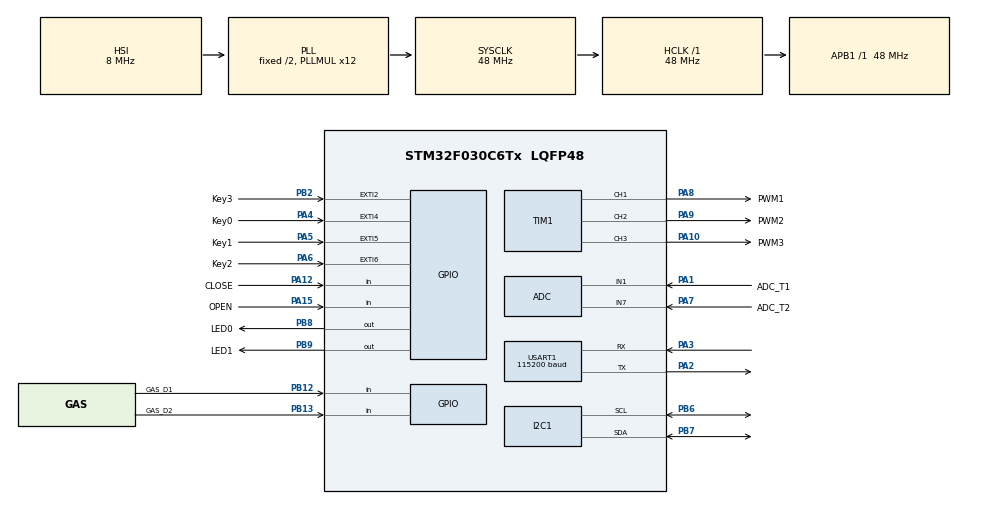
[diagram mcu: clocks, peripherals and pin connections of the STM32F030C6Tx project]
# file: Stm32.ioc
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I2C1.Timing=0x00201D2B
Mcu.Family=STM32F0
Mcu.Name=STM32F030C6Tx
Mcu.Package=LQFP48
PA1.GPIO_Label=ADC_T1
PA1.Mode=IN1
PA1.Signal=ADC_IN1
PA10.GPIO_FMA10=SYSCFG_CFGR1_I2C_FMP_PA10
PA10.GPIO_Label=PWM3
PA10.GPIO_Speed=GPIO_SPEED_FREQ_HIGH
PA10.Signal=S_TIM1_CH3
PA12.GPIO_Label=CLOSE
PA12.Signal=GPIO_Input
PA13.Mode=Serial_Wire
PA13.Signal=SYS_SWDIO
PA14.Mode=Serial_Wire
PA14.Signal=SYS_SWCLK
PA15.GPIO_Label=OPEN
PA15.Signal=GPIO_Input
PA2.Mode=Asynchronous
PA2.Signal=USART1_TX
PA3.Mode=Asynchronous
PA3.Signal=USART1_RX
PA4.GPIO_Label=Key0
PA4.GPIO_ModeDefaultEXTI=GPIO_MODE_IT_RISING_FALLING
PA4.Signal=GPXTI4
PA5.GPIO_Label=Key1
PA5.GPIO_ModeDefaultEXTI=GPIO_MODE_IT_RISING_FALLING
PA5.Signal=GPXTI5
PA6.GPIO_Label=Key2
PA6.GPIO_ModeDefaultEXTI=GPIO_MODE_IT_RISING_FALLING
PA6.Signal=GPXTI6
PA7.GPIO_Label=ADC_T2
PA7.Mode=IN7
PA7.Signal=ADC_IN7
PA8.GPIO_Label=PWM1
PA8.GPIO_ModeDefaultPP=GPIO_MODE_AF_PP
PA8.GPIO_Speed=GPIO_SPEED_FREQ_HIGH
PA8.Signal=S_TIM1_CH1
PA9.GPIO_FMA9=SYSCFG_CFGR1_I2C_FMP_PA9
PA9.GPIO_Label=PWM2
PA9.GPIO_Speed=GPIO_SPEED_FREQ_HIGH
PA9.Signal=S_TIM1_CH2
PB12.GPIO_Label=GAS_D1
PB12.Signal=GPIO_Input
PB13.GPIO_Label=GAS_D2
PB13.Signal=GPIO_Input
PB2.GPIO_Label=Key3
PB2.GPIO_ModeDefaultEXTI=GPIO_MODE_IT_RISING_FALLING
PB2.Signal=GPXTI2
PB6.Mode=I2C
PB6.Signal=I2C1_SCL
PB7.Mode=I2C
PB7.Signal=I2C1_SDA
PB8.GPIO_FM8=SYSCFG_CFGR1_I2C_FMP_PB8
PB8.GPIO_Label=LED0
PB8.GPIO_Speed=GPIO_SPEED_FREQ_HIGH
PB8.PinState=GPIO_PIN_SET
PB8.Signal=GPIO_Output
PB9.GPIO_FM9=SYSCFG_CFGR1_I2C_FMP_PB9
PB9.GPIO_Label=LED1
PB9.GPIO_Speed=GPIO_SPEED_FREQ_HIGH
PB9.PinState=GPIO_PIN_SET
PB9.Signal=GPIO_Output
PF0-OSC_IN.Mode=HSE-External-Oscillator
PF0-OSC_IN.Signal=RCC_OSC_IN
PF1-OSC_OUT.Mode=HSE-External-Oscillator
PF1-OSC_OUT.Signal=RCC_OSC_OUT
ProjectManager.HeapSize=0x200
ProjectManager.StackSize=0x400
ProjectManager.TargetToolchain=CMake
RCC.AHBFreq_Value=48000000
RCC.APB1Freq_Value=48000000
RCC.APB1TimFreq_Value=48000000
RCC.HCLKFreq_Value=48000000
RCC.PLLMUL=RCC_PLL_MUL12
RCC.SYSCLKFreq_VALUE=48000000
RCC.SYSCLKSource=RCC_SYSCLKSOURCE_PLLCLK
SH.S_TIM1_CH1.0=TIM1_CH1,Output Compare1 CH1
SH.S_TIM1_CH2.0=TIM1_CH2,Output Compare2 CH2
SH.S_TIM1_CH3.0=TIM1_CH3,Output Compare3 CH3
TIM1.Channel-Output\ Compare1\ CH1=TIM_CHANNEL_1
TIM1.Channel-Output\ Compare2\ CH2=TIM_CHANNEL_2
TIM1.Channel-Output\ Compare3\ CH3=TIM_CHANNEL_3
USART1.BaudRate=115200
USART1.VirtualMode-Asynchronous=VM_ASYNC
VP_ADC_TempSens_Input.Mode=IN-TempSens
VP_TIM1_VS_ClockSourceINT.Mode=Internal
board=custom

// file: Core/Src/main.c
/* USER CODE BEGIN Header */
/**
  ******************************************************************************
  * @file           : main.c
  * @brief          : Main program body
  ******************************************************************************
  * @attention
  *
  * Copyright (c) 2026 STMicroelectronics.
  * All rights reserved.
  *
  * This software is licensed under terms that can be found in the LICENSE file
  * in the root directory of this software component.
  * If no LICENSE file comes with this software, it is provided AS-IS.
  *
  ******************************************************************************
  */
/* USER CODE END Header */
#include "main.h"

/* USER CODE BEGIN Includes */
#include <limits.h>
#include <stdio.h>
#include <string.h>
#include "serial_log.h"
#include "Oled/oled.h"

/* USER CODE END Includes */

/* USER CODE BEGIN PTD */
typedef struct
{
  uint16_t ad_t1_raw;
  uint16_t ad_t2_raw;
  uint16_t ad_t1_mv;
  uint16_t ad_t2_mv;
  uint16_t input_mv;
  uint16_t temperature_raw;
  int16_t temperature_c10;
  uint16_t pwm0_duty;
  uint16_t pwm1_duty;
  uint16_t pwm2_duty;
  uint8_t digital_state;
  uint8_t digital_fault;
  uint8_t temp_fault;
  uint8_t boot_guard_active;
  uint8_t protection_latched;
  uint8_t adc_ok;
} CoreStatusSnapshot;

/* USER CODE END PTD */

/* USER CODE BEGIN PD */
#define BOOT_GUARD_MS                         15000U
#define CORE_LOGIC_PERIOD_MS                  20U
#define ADC_POLL_TIMEOUT_MS                   5U

#define ADC_FULL_SCALE                        4095U
#define ADC_REF_MV                            3300U
#define TS_CAL1_ADDR                          ((uint16_t *)0x1FFFF7B8U)
#define TS_CAL2_ADDR                          ((uint16_t *)0x1FFFF7C2U)
#define TS_CAL1_TEMP_C                        30
#define TS_CAL2_TEMP_C                        110

/* TODO: replace divider/calibration factors with measured values. */
/* AD_T1: 10k (top) / 2.2k (bottom) divider => V_in = V_adc * (12.2 / 2.2) = 61/11 */
#define AD_T1_DIVIDER_NUM                     61U
#define AD_T1_DIVIDER_DEN                     11U
#define AD_T1_CAL_NUM                         1U
#define AD_T1_CAL_DEN                         1U
#define AD_T2_DIVIDER_NUM                     1U
#define AD_T2_DIVIDER_DEN                     1U
#define AD_T2_CAL_NUM                         1U
#define AD_T2_CAL_DEN                         1U

#define AD_T1_SCALE_NUM                       (AD_T1_DIVIDER_NUM * AD_T1_CAL_NUM)
#define AD_T1_SCALE_DEN                       (AD_T1_DIVIDER_DEN * AD_T1_CAL_DEN)
#define AD_T2_SCALE_NUM                       (AD_T2_DIVIDER_NUM * AD_T2_CAL_NUM)
#define AD_T2_SCALE_DEN                       (AD_T2_DIVIDER_DEN * AD_T2_CAL_DEN)

#define PWM_BASE_FREQ_HZ                      10000U
#define PWM_TIMER_CLOCK_HZ                    48000000U
#define PWM_TIMER_PERIOD                      ((PWM_TIMER_CLOCK_HZ / PWM_BASE_FREQ_HZ) - 1U)
#define PWM_DUTY_MAX                           PWM_TIMER_PERIOD
#define PWM0_DUTY_LIMIT_PERCENT               20U
#define PWM0_DUTY_LIMIT                       ((PWM_DUTY_MAX * PWM0_DUTY_LIMIT_PERCENT) / 100U)
#define PWM0_TARGET_MV                         10500U
#define PWM1_FIXED_TARGET_MV                  1500U
#define PWM0_MAX_DUTY_PERCENT                 12U
#define PWM0_MAX_DUTY_COUNTS                  ((uint16_t)((((uint32_t)PWM_DUTY_MAX * PWM0_MAX_DUTY_PERCENT) + 50U) / 100U))
#define PWM0_MIN_ENABLE_MV                    6000U
#define PWM0_RAMP_INTERVAL_MS                 20U
#define PWM0_RAMP_UP_STEP_COUNTS              ((uint16_t)((PWM_DUTY_MAX + 99U) / 100U))
#define PWM0_RAMP_DOWN_STEP_COUNTS            ((uint16_t)(PWM0_RAMP_UP_STEP_COUNTS * 20U))
#define OUTPUT_AUTO_OFF_MS                    15000U

#if (PWM0_DUTY_LIMIT_PERCENT > 100U)
#error "PWM0_DUTY_LIMIT_PERCENT must be <= 100"
#endif

#if ((PWM0_RAMP_INTERVAL_MS % CORE_LOGIC_PERIOD_MS) != 0)
#error "PWM0_RAMP_INTERVAL_MS must be a multiple of CORE_LOGIC_PERIOD_MS"
#endif

/* PID gains: duty = Kp*err + Ki*sum(err) + Kd*dErr. Tune as needed. */
#define PWM0_PID_KP_NUM                        1U
#define PWM0_PID_KP_DEN                        4U
#define PWM0_PID_KI_NUM                        1U
#define PWM0_PID_KI_DEN                        200U
#define PWM0_PID_KD_NUM                        0U
#define PWM0_PID_KD_DEN                        1U

#if (PWM0_PID_KI_NUM == 0U)
#error "PWM0_PID_KI_NUM must be non-zero"
#endif

#define DIGITAL_STATE_OPEN                     (1U << 0)
#define DIGITAL_STATE_CLOSE                    (1U << 1)
#define DIGITAL_STATE_GAS_D1                   (1U << 2)
#define DIGITAL_STATE_GAS_D2                   (1U << 3)

#define OPEN_ACTIVE_LEVEL                     GPIO_PIN_RESET
#define CLOSE_ACTIVE_LEVEL                    GPIO_PIN_SET
#define GAS_ACTIVE_LEVEL                      GPIO_PIN_RESET
#define DIGITAL_INPUT_STABLE_COUNT            10U

#define LED0_TOGGLE_PERIOD_MS                500U
#define LED1_TOGGLE_PERIOD_MS                 20U
#define UART_STATUS_PRINT_PERIOD_MS          500U
#define OLED_UPDATE_PERIOD_MS                200U

#if ((LED0_TOGGLE_PERIOD_MS % CORE_LOGIC_PERIOD_MS) != 0)
#error "LED0_TOGGLE_PERIOD_MS must be a multiple of CORE_LOGIC_PERIOD_MS"
#endif
#if ((LED1_TOGGLE_PERIOD_MS % CORE_LOGIC_PERIOD_MS) != 0)
#error "LED1_TOGGLE_PERIOD_MS must be a multiple of CORE_LOGIC_PERIOD_MS"
#endif
#if ((UART_STATUS_PRINT_PERIOD_MS % CORE_LOGIC_PERIOD_MS) != 0)
#error "UART_STATUS_PRINT_PERIOD_MS must be a multiple of CORE_LOGIC_PERIOD_MS"
#endif
#if ((OLED_UPDATE_PERIOD_MS % CORE_LOGIC_PERIOD_MS) != 0)
#error "OLED_UPDATE_PERIOD_MS must be a multiple of CORE_LOGIC_PERIOD_MS"
#endif

#define LED0_TOGGLE_TICKS                     (LED0_TOGGLE_PERIOD_MS / CORE_LOGIC_PERIOD_MS)
#define LED1_TOGGLE_TICKS                     (LED1_TOGGLE_PERIOD_MS / CORE_LOGIC_PERIOD_MS)
#define UART_STATUS_PRINT_TICKS               (UART_STATUS_PRINT_PERIOD_MS / CORE_LOGIC_PERIOD_MS)
#define OLED_UPDATE_TICKS                     (OLED_UPDATE_PERIOD_MS / CORE_LOGIC_PERIOD_MS)
#define OLED_TRIGGER_PAGE_TICKS               5U

/* If LED wiring is active-low (common), OFF=SET and ON=RESET. Adjust if needed. */
#define LED_OFF_STATE                         GPIO_PIN_SET

/* USER CODE END PD */

ADC_HandleTypeDef hadc;

I2C_HandleTypeDef hi2c1;

TIM_HandleTypeDef htim1;

UART_HandleTypeDef huart1;

/* USER CODE BEGIN PV */
static uint32_t boot_tick_ms;
static uint8_t digital_active_counts[4];
static uint8_t protection_latched;
static uint16_t pwm0_duty;
static uint16_t pwm1_duty;
static uint16_t pwm2_duty;
static uint16_t led0_tick_count;
static uint16_t led1_tick_count;
static uint16_t uart_print_tick_count;
static uint16_t oled_update_tick_count;
static uint16_t pwm0_ramp_tick_count;
static int32_t pwm0_pid_integral;
static int32_t pwm0_pid_prev_error;
static uint32_t output_enable_start_ms;
static CoreStatusSnapshot core_status;
static uint32_t adc_fail_count;
static uint32_t adc_last_error;
static uint32_t adc_last_isr;
static uint32_t adc_last_cr;
static uint32_t adc_last_chselr;
static uint8_t adc_last_status;

/* USER CODE END PV */

void SystemClock_Config(void);
static void MX_GPIO_Init(void);
static void MX_ADC_Init(void);
static void MX_I2C1_Init(void);
static void MX_USART1_UART_Init(void);
static void MX_TIM1_Init(void);
/* USER CODE BEGIN PFP */
static void CoreProtection_Init(void);
static void CoreProtection_Update(void);
static void Led_Init(void);
static void Led_Update(void);
static void UartStatus_Update(void);
static void OledStatus_Update(void);
static void OledDebug_Update(void);
static void OledWriteLine(uint8_t line, const char *text);
static HAL_StatusTypeDef ReadCoreAdcInputs(uint16_t *ad_t1_raw,
                                           uint16_t *ad_t2_raw,
                                           uint16_t *temperature_raw);
static uint8_t UpdateDigitalCounter(uint8_t *counter,
                                    GPIO_PinState level,
                                    GPIO_PinState active_level);
static uint8_t ReadDigitalFaultStable(void);
static uint16_t AdcRawToMv(uint16_t raw);
static uint16_t ApplyVoltageScale(uint16_t mv, uint32_t scale_num, uint32_t scale_den);
static uint16_t ComputeInputVoltageMv(uint16_t ad_t1_mv, uint16_t ad_t2_mv);
static int16_t TemperatureRawToC10(uint16_t raw);
static void ResetPwm0Pid(void);
static uint16_t AdjustPwm0Duty(uint16_t feedback_mv);
static void ResetPwm0Ramp(void);
static uint16_t RampPwm0Duty(uint16_t target, uint8_t force_off);
static void ApplyPwmOutputs(uint16_t duty0, uint16_t duty1, uint16_t duty2);

/* USER CODE END PFP */

/* USER CODE BEGIN 0 */
static void CoreProtection_Init(void)
{
  uint8_t i;

  boot_tick_ms = HAL_GetTick();
  protection_latched = 0U;
  pwm0_duty = 0U;
  pwm1_duty = 0U;
  pwm2_duty = 0U;
  led0_tick_count = 0U;
  led1_tick_count = 0U;
  uart_print_tick_count = 0U;
  oled_update_tick_count = 0U;
  pwm0_ramp_tick_count = 0U;
  pwm0_pid_integral = 0;
  pwm0_pid_prev_error = 0;
  output_enable_start_ms = 0U;
  core_status = (CoreStatusSnapshot){0};
  adc_fail_count = 0U;
  adc_last_error = 0U;
  adc_last_isr = 0U;
  adc_last_cr = 0U;
  adc_last_chselr = 0U;
  adc_last_status = (uint8_t)HAL_OK;

  for (i = 0U; i < 4U; i++)
  {
    digital_active_counts[i] = 0U;
  }

  (void)HAL_ADCEx_Calibration_Start(&hadc);
  /* Temporarily disable PWM2/PWM3 while debugging PWM1. */
  if (HAL_TIM_PWM_Start(&htim1, TIM_CHANNEL_1) != HAL_OK)
  {
    Error_Handler();
  }
  ApplyPwmOutputs(0U, 0U, 0U);
}

static void Led_Init(void)
{
  HAL_GPIO_WritePin(LED0_GPIO_Port, LED0_Pin, LED_OFF_STATE);
  HAL_GPIO_WritePin(LED1_GPIO_Port, LED1_Pin, LED_OFF_STATE);
}

static void Led_Update(void)
{
  led0_tick_count++;
  if (led0_tick_count >= LED0_TOGGLE_TICKS)
  {
    led0_tick_count = 0U;
    HAL_GPIO_TogglePin(LED0_GPIO_Port, LED0_Pin);
  }

  if (protection_latched == 0U)
  {
    led1_tick_count = 0U;
    HAL_GPIO_WritePin(LED1_GPIO_Port, LED1_Pin, LED_OFF_STATE);
    return;
  }

  led1_tick_count++;
  if (led1_tick_count >= LED1_TOGGLE_TICKS)
  {
    led1_tick_count = 0U;
    HAL_GPIO_TogglePin(LED1_GPIO_Port, LED1_Pin);
  }
}

static void UartStatus_Update(void)
{
  uart_print_tick_count++;
  if (uart_print_tick_count < UART_STATUS_PRINT_TICKS)
  {
    return;
  }
  uart_print_tick_count = 0U;

  SerialLog_Printf("tick=%lu guard=%u latched=%u adc_ok=%u t1=%u t2=%u t1mv=%u t2mv=%u inmv=%u temp=%u din=0x%02X df=%u tf=%u pwm0=%u pwm1=%u pwm2=%u\r\n",
                   (unsigned long)HAL_GetTick(),
                   core_status.boot_guard_active,
                   core_status.protection_latched,
                   core_status.adc_ok,
                   core_status.ad_t1_raw,
                   core_status.ad_t2_raw,
                   core_status.ad_t1_mv,
                   core_status.ad_t2_mv,
                   core_status.input_mv,
                   core_status.temperature_raw,
                   core_status.digital_state,
                   core_status.digital_fault,
                   core_status.temp_fault,
                   core_status.pwm0_duty,
                   core_status.pwm1_duty,
                   core_status.pwm2_duty);
}

static uint8_t OledTryAppendToken(char *line, size_t line_size, const char *token)
{
  size_t len = strlen(line);
  size_t token_len = strlen(token);
  size_t needed = token_len + ((len > 0U) ? 1U : 0U);

  if ((len + needed) > (line_size - 1U))
  {
    return 0U;
  }

  if (len > 0U)
  {
    line[len] = '|';
    len++;
  }
  (void)memcpy(&line[len], token, token_len);
  line[len + token_len] = '\0';
  return 1U;
}

static void OledDebug_Update(void)
{
  static uint8_t trigger_page;
  static uint8_t trigger_page_tick;
  char line0[17];
  char line1[17];
  char tokens[65];
  size_t tokens_len;
  size_t page_count;
  size_t page_start;
  size_t i;
  uint8_t any_trigger = 0U;

  if (core_status.boot_guard_active != 0U)
  {
    uint32_t now_ms = HAL_GetTick();
    uint32_t elapsed_ms = now_ms - boot_tick_ms;
    uint32_t remaining_ms = 0U;
    uint32_t remaining_s;

    if (elapsed_ms < BOOT_GUARD_MS)
    {
      remaining_ms = BOOT_GUARD_MS - elapsed_ms;
    }
    remaining_s = (remaining_ms + 999U) / 1000U;

    (void)snprintf(line0, sizeof(line0), "System warming");
    (void)snprintf(line1, sizeof(line1), "up T-%lus", (unsigned long)remaining_s);
    OLED_Debug_PrintLine(0U, line0);
    OLED_Debug_PrintLine(1U, line1);
    trigger_page = 0U;
    trigger_page_tick = 0U;
    return;
  }

  line0[0] = '\0';
  line1[0] = '\0';
  tokens[0] = '\0';

  if ((core_status.digital_state & DIGITAL_STATE_OPEN) != 0U)
  {
    (void)OledTryAppendToken(tokens, sizeof(tokens), "OPEN");
    any_trigger = 1U;
  }
  if ((core_status.digital_state & DIGITAL_STATE_CLOSE) != 0U)
  {
    (void)OledTryAppendToken(tokens, sizeof(tokens), "CLOSE");
    any_trigger = 1U;
  }
  if ((core_status.digital_state & DIGITAL_STATE_GAS_D1) != 0U)
  {
    (void)OledTryAppendToken(tokens, sizeof(tokens), "GAS1");
    any_trigger = 1U;
  }
  if ((core_status.digital_state & DIGITAL_STATE_GAS_D2) != 0U)
  {
    (void)OledTryAppendToken(tokens, sizeof(tokens), "GAS2");
    any_trigger = 1U;
  }
  if (core_status.adc_ok == 0U)
  {
    (void)OledTryAppendToken(tokens, sizeof(tokens), "ADC");
    any_trigger = 1U;
  }
  if (core_status.temp_fault != 0U)
  {
    (void)OledTryAppendToken(tokens, sizeof(tokens), "TMP");
    any_trigger = 1U;
  }
  if (core_status.protection_latched != 0U)
  {
    (void)OledTryAppendToken(tokens, sizeof(tokens), "RUN");
    any_trigger = 1U;
  }

  if (any_trigger == 0U)
  {
    (void)snprintf(line0, sizeof(line0), "System Idle");
    OLED_Debug_PrintLine(0U, line0);
    OLED_Debug_PrintLine(1U, "");
    trigger_page = 0U;
    trigger_page_tick = 0U;
    return;
  }

  (void)snprintf(line0, sizeof(line0), "[System Action]");
  tokens_len = strlen(tokens);
  if (tokens_len == 0U)
  {
    line1[0] = '\0';
  }
  else
  {
    page_count = (tokens_len + 15U) / 16U;
    if (page_count == 0U)
    {
      page_count = 1U;
    }
    if (trigger_page >= page_count)
    {
      trigger_page = 0U;
    }
    trigger_page_tick++;
    if (trigger_page_tick >= OLED_TRIGGER_PAGE_TICKS)
    {
      trigger_page_tick = 0U;
      trigger_page++;
      if (trigger_page >= page_count)
      {
        trigger_page = 0U;
      }
    }

    page_start = (size_t)trigger_page * 16U;
    for (i = 0U; i < 16U; i++)
    {
      if ((page_start + i) >= tokens_len)
      {
        break;
      }
      line1[i] = tokens[page_start + i];
    }
    line1[i] = '\0';
  }

  OLED_Debug_PrintLine(0U, line0);
  OLED_Debug_PrintLine(1U, line1);
}

static void OledWriteLine(uint8_t line, const char *text)
{
  static const char blank_line[17] = "                ";

  OLED_ShowString(0U, line, blank_line, 8U);
  OLED_ShowString(0U, line, text, 8U);
}

static void OledStatus_Update(void)
{
  char line[17];

  oled_update_tick_count++;
  if (oled_update_tick_count < OLED_UPDATE_TICKS)
  {
    return;
  }
  oled_update_tick_count = 0U;

  OledDebug_Update();

  if (core_status.adc_ok == 0U)
  {
    const char *status_tag = "??";
    uint32_t fail_count_mod = adc_fail_count % 10000U;

    switch ((HAL_StatusTypeDef)adc_last_status)
    {
      case HAL_OK:
        status_tag = "OK";
        break;
      case HAL_ERROR:
        status_tag = "ER";
        break;
      case HAL_BUSY:
        status_tag = "BU";
        break;
      case HAL_TIMEOUT:
        status_tag = "TO";
        break;
      default:
        status_tag = "??";
        break;
    }

    (void)snprintf(line, sizeof(line), "ADC:%s ER:%04lX", status_tag,
                   (unsigned long)adc_last_error);
    OledWriteLine(2U, line);

    (void)snprintf(line, sizeof(line), "ISR:%04lX C:%04lu",
                   (unsigned long)(adc_last_isr & 0xFFFFU),
                   (unsigned long)fail_count_mod);
    OledWriteLine(3U, line);

    (void)snprintf(line, sizeof(line), "CR:%04lX CH:%05lX",
                   (unsigned long)(adc_last_cr & 0xFFFFU),
                   (unsigned long)(adc_last_chselr & 0x1FFFFU));
    OledWriteLine(4U, line);
    return;
  }

  (void)snprintf(line, sizeof(line), "T1:%5u mV", (unsigned int)core_status.ad_t1_mv);
  OledWriteLine(2U, line);

  (void)snprintf(line, sizeof(line), "T2:%5u mV", (unsigned int)core_status.ad_t2_mv);
  OledWriteLine(3U, line);

  {
    int16_t temp_c10 = core_status.temperature_c10;
    int16_t temp_abs = (temp_c10 < 0) ? (int16_t)(-temp_c10) : temp_c10;
    int16_t temp_c = (int16_t)(temp_abs / 10);
    int16_t temp_frac = (int16_t)(temp_abs % 10);
    char sign = (temp_c10 < 0) ? '-' : '+';

    (void)snprintf(line, sizeof(line), "Temp:%c%2d.%1dC", sign, temp_c, temp_frac);
  }
  OledWriteLine(4U, line);
}

static HAL_StatusTypeDef ReadCoreAdcInputs(uint16_t *ad_t1_raw,
                                           uint16_t *ad_t2_raw,
                                           uint16_t *temperature_raw)
{
  uint16_t samples[3];
  uint32_t i;
  HAL_StatusTypeDef status;

  __HAL_ADC_CLEAR_FLAG(&hadc, ADC_FLAG_EOC | ADC_FLAG_EOS | ADC_FLAG_OVR | ADC_FLAG_EOSMP | ADC_FLAG_RDY);

  status = HAL_ADC_Start(&hadc);
  if (status != HAL_OK)
  {
    adc_last_status = (uint8_t)status;
    adc_last_error = HAL_ADC_GetError(&hadc);
    adc_last_isr = hadc.Instance->ISR;
    adc_last_cr = hadc.Instance->CR;
    adc_last_chselr = hadc.Instance->CHSELR;
    adc_fail_count++;
    return HAL_ERROR;
  }

  for (i = 0U; i < 3U; i++)
  {
    status = HAL_ADC_PollForConversion(&hadc, ADC_POLL_TIMEOUT_MS);
    if (status != HAL_OK)
    {
      adc_last_status = (uint8_t)status;
      adc_last_error = HAL_ADC_GetError(&hadc);
      adc_last_isr = hadc.Instance->ISR;
      adc_last_cr = hadc.Instance->CR;
      adc_last_chselr = hadc.Instance->CHSELR;
      adc_fail_count++;
      (void)HAL_ADC_Stop(&hadc);
      return status;
    }
    samples[i] = (uint16_t)HAL_ADC_GetValue(&hadc);
  }

  (void)HAL_ADC_Stop(&hadc);

  adc_last_status = (uint8_t)HAL_OK;
  adc_last_error = 0U;
  *ad_t1_raw = samples[0];
  *ad_t2_raw = samples[1];
  *temperature_raw = samples[2];

  return HAL_OK;
}

static uint8_t UpdateDigitalCounter(uint8_t *counter,
                                    GPIO_PinState level,
                                    GPIO_PinState active_level)
{
  if (level == active_level)
  {
    if (*counter < DIGITAL_INPUT_STABLE_COUNT)
    {
      (*counter)++;
    }
  }
  else
  {
    *counter = 0U;
  }

  if (*counter >= DIGITAL_INPUT_STABLE_COUNT)
  {
    return 1U;
  }
  return 0U;
}

static uint8_t ReadDigitalFaultStable(void)
{
  uint8_t open_active;
  uint8_t close_active;
  uint8_t gas_d1_active;
  uint8_t gas_d2_active;
  GPIO_PinState open_level;
  GPIO_PinState close_level;
  GPIO_PinState gas_d1_level;
  GPIO_PinState gas_d2_level;
  uint8_t digital_state = 0U;

  open_level = HAL_GPIO_ReadPin(OPEN_GPIO_Port, OPEN_Pin);
  close_level = HAL_GPIO_ReadPin(CLOSE_GPIO_Port, CLOSE_Pin);
  gas_d1_level = HAL_GPIO_ReadPin(GAS_D1_GPIO_Port, GAS_D1_Pin);
  gas_d2_level = HAL_GPIO_ReadPin(GAS_D2_GPIO_Port, GAS_D2_Pin);

  if (open_level == OPEN_ACTIVE_LEVEL)
  {
    digital_state |= DIGITAL_STATE_OPEN;
  }
  if (close_level == CLOSE_ACTIVE_LEVEL)
  {
    digital_state |= DIGITAL_STATE_CLOSE;
  }
  if (gas_d1_level == GAS_ACTIVE_LEVEL)
  {
    digital_state |= DIGITAL_STATE_GAS_D1;
  }
  if (gas_d2_level == GAS_ACTIVE_LEVEL)
  {
    digital_state |= DIGITAL_STATE_GAS_D2;
  }

  open_active = UpdateDigitalCounter(&digital_active_counts[0], open_level, OPEN_ACTIVE_LEVEL);
  close_active = UpdateDigitalCounter(&digital_active_counts[1], close_level, CLOSE_ACTIVE_LEVEL);
  gas_d1_active = UpdateDigitalCounter(&digital_active_counts[2], gas_d1_level, GAS_ACTIVE_LEVEL);
  gas_d2_active = UpdateDigitalCounter(&digital_active_counts[3], gas_d2_level, GAS_ACTIVE_LEVEL);

  core_status.digital_state = digital_state;

  if ((open_active != 0U) || (close_active != 0U) || (gas_d1_active != 0U) || (gas_d2_active != 0U))
  {
    return 1U;
  }
  return 0U;
}

static uint16_t AdcRawToMv(uint16_t raw)
{
  uint32_t mv;

  mv = (uint32_t)raw * ADC_REF_MV;
  mv = (mv + (ADC_FULL_SCALE / 2U)) / ADC_FULL_SCALE;
  if (mv > 0xFFFFU)
  {
    mv = 0xFFFFU;
  }
  return (uint16_t)mv;
}

static uint16_t ApplyVoltageScale(uint16_t mv, uint32_t scale_num, uint32_t scale_den)
{
  uint32_t scaled;

  if (scale_den == 0U)
  {
    return mv;
  }

  scaled = (uint32_t)mv * scale_num;
  scaled = (scaled + (scale_den / 2U)) / scale_den;
  if (scaled > 0xFFFFU)
  {
    scaled = 0xFFFFU;
  }
  return (uint16_t)scaled;
}

static uint16_t ComputeInputVoltageMv(uint16_t ad_t1_mv, uint16_t ad_t2_mv)
{
  uint32_t sum;

  sum = (uint32_t)ad_t1_mv + (uint32_t)ad_t2_mv;
  return (uint16_t)((sum + 1U) / 2U);
}

static int16_t TemperatureRawToC10(uint16_t raw)
{
  int32_t cal1 = (int32_t)(*TS_CAL1_ADDR);
  int32_t cal2 = (int32_t)(*TS_CAL2_ADDR);
  int32_t raw_i = (int32_t)raw;
  int32_t temp_c10;
  int32_t denom = cal2 - cal1;
  int32_t num;

  /* RM0360 temperature formula using two calibration points (no voltage conversion). */
  if (denom == 0)
  {
    return 0;
  }

  num = (raw_i - cal1) * (TS_CAL2_TEMP_C - TS_CAL1_TEMP_C) * 10;
  if (num >= 0)
  {
    num += denom / 2;
  }
  else
  {
    num -= denom / 2;
  }
  temp_c10 = (num / denom) + ((int32_t)TS_CAL1_TEMP_C * 10);

  if (temp_c10 > INT16_MAX)
  {
    temp_c10 = INT16_MAX;
  }
  else if (temp_c10 < INT16_MIN)
  {
    temp_c10 = INT16_MIN;
  }

  return (int16_t)temp_c10;
}

static void ResetPwm0Pid(void)
{
  pwm0_pid_integral = 0;
  pwm0_pid_prev_error = 0;
}

static void ResetPwm0Ramp(void)
{
  pwm0_ramp_tick_count = 0U;
}

static uint16_t AdjustPwm0Duty(uint16_t feedback_mv)
{
  uint32_t duty;

  /* PID algorithm disabled for now. Keep code commented for easy restore. */
#if 0
  int32_t error = (int32_t)PWM0_TARGET_MV - (int32_t)feedback_mv;
  int32_t p_term;
  int32_t i_term;
  int32_t d_term;
  int32_t output;
  int32_t i_limit;
  int32_t delta_error;

  p_term = (error * (int32_t)PWM0_PID_KP_NUM) / (int32_t)PWM0_PID_KP_DEN;

  pwm0_pid_integral += error;
  i_limit = ((int32_t)PWM0_DUTY_LIMIT * (int32_t)PWM0_PID_KI_DEN) / (int32_t)PWM0_PID_KI_NUM;
  if (pwm0_pid_integral > i_limit)
  {
    pwm0_pid_integral = i_limit;
  }
  else if (pwm0_pid_integral < -i_limit)
  {
    pwm0_pid_integral = -i_limit;
  }
  i_term = (pwm0_pid_integral * (int32_t)PWM0_PID_KI_NUM) / (int32_t)PWM0_PID_KI_DEN;

  delta_error = error - pwm0_pid_prev_error;
  d_term = (delta_error * (int32_t)PWM0_PID_KD_NUM) / (int32_t)PWM0_PID_KD_DEN;
  pwm0_pid_prev_error = error;

  output = p_term + i_term + d_term;
  if (output < 0)
  {
    output = 0;
  }
  else if (output > (int32_t)PWM0_DUTY_LIMIT)
  {
    output = (int32_t)PWM0_DUTY_LIMIT;
  }

  return (uint16_t)output;
#endif
  if (feedback_mv == 0U)
  {
    return 0U;
  }

  duty = ((uint32_t)PWM_DUTY_MAX * (uint32_t)PWM1_FIXED_TARGET_MV) + ((uint32_t)feedback_mv / 2U);
  duty /= (uint32_t)feedback_mv;
  if (duty > (uint32_t)PWM_DUTY_MAX)
  {
    duty = (uint32_t)PWM_DUTY_MAX;
  }

  return (uint16_t)duty;
}

static uint16_t RampPwm0Duty(uint16_t target, uint8_t force_off)
{
  uint16_t current = pwm0_duty;
  uint16_t next = current;

  if (force_off != 0U)
  {
    pwm0_ramp_tick_count = 0U;
    return 0U;
  }

  pwm0_ramp_tick_count++;
  if (pwm0_ramp_tick_count < (PWM0_RAMP_INTERVAL_MS / CORE_LOGIC_PERIOD_MS))
  {
    return current;
  }
  pwm0_ramp_tick_count = 0U;

  if (target > current)
  {
    uint32_t step = PWM0_RAMP_UP_STEP_COUNTS;
    uint32_t sum = (uint32_t)current + step;
    next = (sum > target) ? target : (uint16_t)sum;
  }
  else if (target < current)
  {
    uint32_t step = PWM0_RAMP_DOWN_STEP_COUNTS;
    if (step >= current)
    {
      next = 0U;
    }
    else
    {
      next = (uint16_t)(current - step);
    }
    if (next < target)
    {
      next = target;
    }
  }

  return next;
}

static void ApplyPwmOutputs(uint16_t duty0, uint16_t duty1, uint16_t duty2)
{
  if (duty0 > PWM_DUTY_MAX)
  {
    duty0 = PWM_DUTY_MAX;
  }
  if (duty1 > PWM_DUTY_MAX)
  {
    duty1 = PWM_DUTY_MAX;
  }
  if (duty2 > PWM_DUTY_MAX)
  {
    duty2 = PWM_DUTY_MAX;
  }

  /* PWM0 -> TIM1_CH1 (PWM1_Pin), PWM2/PWM3 as GPIO outputs. */
  /* Temporarily disable PWM3 output while debugging PWM1/PWM2. */
  __HAL_TIM_SET_COMPARE(&htim1, TIM_CHANNEL_1, duty0);
  HAL_GPIO_WritePin(PWM2_GPIO_Port, PWM2_Pin, GPIO_PIN_RESET);
  /* HAL_GPIO_WritePin(PWM3_GPIO_Port, PWM3_Pin, (duty2 > 0U) ? GPIO_PIN_SET : GPIO_PIN_RESET); */
  HAL_GPIO_WritePin(PWM3_GPIO_Port, PWM3_Pin, GPIO_PIN_RESET);

  pwm0_duty = duty0;
  pwm1_duty = duty1;
  pwm2_duty = duty2;
  core_status.pwm0_duty = duty0;
  core_status.pwm1_duty = duty1;
  core_status.pwm2_duty = duty2;
}

static void CoreProtection_Update(void)
{
  uint32_t now_ms;
  uint8_t boot_guard_active;
  uint8_t digital_fault;
  uint8_t temp_fault = 0U;
  uint8_t trigger_success = 0U;
  uint8_t force_pwm0_off = 0U;
  uint16_t ad_t1_raw = 0U;
  uint16_t ad_t2_raw = 0U;
  uint16_t temperature_raw = 0U;
  uint16_t ad_t1_pin_mv = 0U;
  uint16_t ad_t2_pin_mv = 0U;
  uint16_t ad_t1_mv = 0U;
  uint16_t ad_t2_mv = 0U;
  uint16_t input_mv = 0U;
  uint16_t target_pwm0;
  uint16_t ramped_pwm0;

  now_ms = HAL_GetTick();

  boot_guard_active = ((now_ms - boot_tick_ms) < BOOT_GUARD_MS) ? 1U : 0U;
  digital_fault = ReadDigitalFaultStable();
  core_status.boot_guard_active = boot_guard_active;
  core_status.digital_fault = digital_fault;

  if (ReadCoreAdcInputs(&ad_t1_raw, &ad_t2_raw, &temperature_raw) == HAL_OK)
  {
    ad_t1_pin_mv = AdcRawToMv(ad_t1_raw);
    ad_t2_pin_mv = AdcRawToMv(ad_t2_raw);
    ad_t1_mv = ApplyVoltageScale(ad_t1_pin_mv, AD_T1_SCALE_NUM, AD_T1_SCALE_DEN);
    ad_t2_mv = ApplyVoltageScale(ad_t2_pin_mv, AD_T2_SCALE_NUM, AD_T2_SCALE_DEN);
    input_mv = ComputeInputVoltageMv(ad_t1_mv, ad_t2_mv);
    core_status.temperature_c10 = TemperatureRawToC10(temperature_raw);
    temp_fault = (core_status.temperature_c10 > 700) ? 1U : 0U;
    core_status.adc_ok = 1U;
  }
  else
  {
    core_status.adc_ok = 0U;
    core_status.temperature_c10 = 0;
  }
  core_status.ad_t1_raw = ad_t1_raw;
  core_status.ad_t2_raw = ad_t2_raw;
  core_status.ad_t1_mv = ad_t1_mv;
  core_status.ad_t2_mv = ad_t2_mv;
  core_status.input_mv = input_mv;
  core_status.temperature_raw = temperature_raw;
  core_status.temp_fault = temp_fault;

  if (boot_guard_active != 0U)
  {
    protection_latched = 0U;
    output_enable_start_ms = 0U;
    ResetPwm0Pid();
    ResetPwm0Ramp();
    ApplyPwmOutputs(0U, 0U, 0U);
    core_status.protection_latched = protection_latched;
    return;
  }

  trigger_success = ((digital_fault != 0U) &&
                     (protection_latched == 0U)) ? 1U : 0U;

  if (trigger_success != 0U)
  {
    protection_latched = 1U;
    output_enable_start_ms = now_ms;
  }

  if ((protection_latched != 0U) && ((now_ms - output_enable_start_ms) >= OUTPUT_AUTO_OFF_MS))
  {
    protection_latched = 0U;
    ResetPwm0Pid();
    ResetPwm0Ramp();
    ApplyPwmOutputs(0U, 0U, 0U);
    core_status.protection_latched = protection_latched;
    return;
  }

  if (protection_latched == 0U)
  {
    output_enable_start_ms = 0U;
    ResetPwm0Pid();
    ResetPwm0Ramp();
    ApplyPwmOutputs(0U, 0U, 0U);
    core_status.protection_latched = protection_latched;
    return;
  }

  if (core_status.adc_ok != 0U)
  {
    if (input_mv == 0U)
    {
      target_pwm0 = 0U;
      ResetPwm0Pid();
      ResetPwm0Ramp();
    }
    else
    {
      target_pwm0 = AdjustPwm0Duty(ad_t1_mv);
    }
  }
  else
  {
    target_pwm0 = 0U;
    ResetPwm0Pid();
    ResetPwm0Ramp();
  }

  if (ad_t1_mv < PWM0_MIN_ENABLE_MV)
  {
    force_pwm0_off = 1U;
    target_pwm0 = 0U;
  }
  else if (target_pwm0 > PWM0_MAX_DUTY_COUNTS)
  {
    target_pwm0 = PWM0_MAX_DUTY_COUNTS;
  }

  ramped_pwm0 = RampPwm0Duty(target_pwm0, force_pwm0_off);
  ApplyPwmOutputs(ramped_pwm0, PWM_DUTY_MAX, PWM_DUTY_MAX);
  core_status.protection_latched = protection_latched;
}

/* USER CODE END 0 */

int main(void)
{

  /* MCU Configuration--------------------------------------------------------*/

  /* Reset of all peripherals, Initializes the Flash interface and the Systick. */
  HAL_Init();

  /* Configure the system clock */
  SystemClock_Config();

  /* Initialize all configured peripherals */
  MX_GPIO_Init();
  MX_ADC_Init();
  MX_I2C1_Init();
  MX_USART1_UART_Init();
  MX_TIM1_Init();
  /* USER CODE BEGIN 2 */
  SerialLog_Init(&huart1);
  SerialLog_Print("System boot\r\n");
  CoreProtection_Init();
  Led_Init();
  OLED_Init(&hi2c1);
  OLED_Clear();

  /* USER CODE END 2 */

  /* Infinite loop */
  /* USER CODE BEGIN WHILE */
  while (1)
  {
    uint32_t loop_start_ms = HAL_GetTick();

    /* USER CODE END WHILE */

    /* USER CODE BEGIN 3 */
    CoreProtection_Update();
    Led_Update();
    UartStatus_Update();
    OledStatus_Update();
    while ((HAL_GetTick() - loop_start_ms) < CORE_LOGIC_PERIOD_MS)
    {
      __NOP();
    }
  }
  /* USER CODE END 3 */
}

void SystemClock_Config(void)
{
  RCC_OscInitTypeDef RCC_OscInitStruct = {0};
  RCC_ClkInitTypeDef RCC_ClkInitStruct = {0};
  RCC_PeriphCLKInitTypeDef PeriphClkInit = {0};

  /** Initializes the RCC Oscillators according to the specified parameters
  * in the RCC_OscInitTypeDef structure.
  */
  RCC_OscInitStruct.OscillatorType = RCC_OSCILLATORTYPE_HSI|RCC_OSCILLATORTYPE_HSI14;
  RCC_OscInitStruct.HSIState = RCC_HSI_ON;
  RCC_OscInitStruct.HSI14State = RCC_HSI14_ON;
  RCC_OscInitStruct.HSICalibrationValue = RCC_HSICALIBRATION_DEFAULT;
  RCC_OscInitStruct.HSI14CalibrationValue = 16;
  RCC_OscInitStruct.PLL.PLLState = RCC_PLL_ON;
  RCC_OscInitStruct.PLL.PLLSource = RCC_PLLSOURCE_HSI;
  RCC_OscInitStruct.PLL.PLLMUL = RCC_PLL_MUL12;
  RCC_OscInitStruct.PLL.PREDIV = RCC_PREDIV_DIV1;
  if (HAL_RCC_OscConfig(&RCC_OscInitStruct) != HAL_OK)
  {
    Error_Handler();
  }

  /** Initializes the CPU, AHB and APB buses clocks
  */
  RCC_ClkInitStruct.ClockType = RCC_CLOCKTYPE_HCLK|RCC_CLOCKTYPE_SYSCLK
                              |RCC_CLOCKTYPE_PCLK1;
  RCC_ClkInitStruct.SYSCLKSource = RCC_SYSCLKSOURCE_PLLCLK;
  RCC_ClkInitStruct.AHBCLKDivider = RCC_SYSCLK_DIV1;
  RCC_ClkInitStruct.APB1CLKDivider = RCC_HCLK_DIV1;

  if (HAL_RCC_ClockConfig(&RCC_ClkInitStruct, FLASH_LATENCY_1) != HAL_OK)
  {
    Error_Handler();
  }
  PeriphClkInit.PeriphClockSelection = RCC_PERIPHCLK_USART1|RCC_PERIPHCLK_I2C1;
  PeriphClkInit.Usart1ClockSelection = RCC_USART1CLKSOURCE_PCLK1;
  PeriphClkInit.I2c1ClockSelection = RCC_I2C1CLKSOURCE_HSI;
  if (HAL_RCCEx_PeriphCLKConfig(&PeriphClkInit) != HAL_OK)
  {
    Error_Handler();
  }
}

static void MX_ADC_Init(void)
{

  ADC_ChannelConfTypeDef sConfig = {0};

  /** Configure the global features of the ADC (Clock, Resolution, Data Alignment and number of conversion)
  */
  hadc.Instance = ADC1;
  hadc.Init.ClockPrescaler = ADC_CLOCK_ASYNC_DIV1;
  hadc.Init.Resolution = ADC_RESOLUTION_12B;
  hadc.Init.DataAlign = ADC_DATAALIGN_RIGHT;
  hadc.Init.ScanConvMode = ADC_SCAN_DIRECTION_FORWARD;
  hadc.Init.EOCSelection = ADC_EOC_SINGLE_CONV;
  hadc.Init.LowPowerAutoWait = DISABLE;
  hadc.Init.LowPowerAutoPowerOff = DISABLE;
  hadc.Init.ContinuousConvMode = DISABLE;
  hadc.Init.DiscontinuousConvMode = DISABLE;
  hadc.Init.ExternalTrigConv = ADC_SOFTWARE_START;
  hadc.Init.ExternalTrigConvEdge = ADC_EXTERNALTRIGCONVEDGE_NONE;
  hadc.Init.DMAContinuousRequests = DISABLE;
  hadc.Init.Overrun = ADC_OVR_DATA_PRESERVED;
  if (HAL_ADC_Init(&hadc) != HAL_OK)
  {
    Error_Handler();
  }

  /** Configure for the selected ADC regular channel to be converted.
  */
  sConfig.Channel = ADC_CHANNEL_1;
  sConfig.Rank = ADC_RANK_CHANNEL_NUMBER;
  sConfig.SamplingTime = ADC_SAMPLETIME_239CYCLES_5;
  if (HAL_ADC_ConfigChannel(&hadc, &sConfig) != HAL_OK)
  {
    Error_Handler();
  }

  /** Configure for the selected ADC regular channel to be converted.
  */
  sConfig.Channel = ADC_CHANNEL_7;
  if (HAL_ADC_ConfigChannel(&hadc, &sConfig) != HAL_OK)
  {
    Error_Handler();
  }

  /** Configure for the selected ADC regular channel to be converted.
  */
  sConfig.Channel = ADC_CHANNEL_TEMPSENSOR;
  if (HAL_ADC_ConfigChannel(&hadc, &sConfig) != HAL_OK)
  {
    Error_Handler();
  }

}

static void MX_I2C1_Init(void)
{

  hi2c1.Instance = I2C1;
  hi2c1.Init.Timing = 0x00201D2B;
  hi2c1.Init.OwnAddress1 = 0;
  hi2c1.Init.AddressingMode = I2C_ADDRESSINGMODE_7BIT;
  hi2c1.Init.DualAddressMode = I2C_DUALADDRESS_DISABLE;
  hi2c1.Init.OwnAddress2 = 0;
  hi2c1.Init.OwnAddress2Masks = I2C_OA2_NOMASK;
  hi2c1.Init.GeneralCallMode = I2C_GENERALCALL_DISABLE;
  hi2c1.Init.NoStretchMode = I2C_NOSTRETCH_DISABLE;
  if (HAL_I2C_Init(&hi2c1) != HAL_OK)
  {
    Error_Handler();
  }

  /** Configure Analogue filter
  */
  if (HAL_I2CEx_ConfigAnalogFilter(&hi2c1, I2C_ANALOGFILTER_ENABLE) != HAL_OK)
  {
    Error_Handler();
  }

  /** Configure Digital filter
  */
  if (HAL_I2CEx_ConfigDigitalFilter(&hi2c1, 0) != HAL_OK)
  {
    Error_Handler();
  }

}

static void MX_TIM1_Init(void)
{

  TIM_ClockConfigTypeDef sClockSourceConfig = {0};
  TIM_MasterConfigTypeDef sMasterConfig = {0};
  TIM_OC_InitTypeDef sConfigOC = {0};
  TIM_BreakDeadTimeConfigTypeDef sBreakDeadTimeConfig = {0};

  htim1.Instance = TIM1;
  htim1.Init.Prescaler = 0;
  htim1.Init.CounterMode = TIM_COUNTERMODE_UP;
  htim1.Init.Period = PWM_TIMER_PERIOD;
  htim1.Init.ClockDivision = TIM_CLOCKDIVISION_DIV1;
  htim1.Init.RepetitionCounter = 0;
  htim1.Init.AutoReloadPreload = TIM_AUTORELOAD_PRELOAD_DISABLE;
  if (HAL_TIM_Base_Init(&htim1) != HAL_OK)
  {
    Error_Handler();
  }
  sClockSourceConfig.ClockSource = TIM_CLOCKSOURCE_INTERNAL;
  if (HAL_TIM_ConfigClockSource(&htim1, &sClockSourceConfig) != HAL_OK)
  {
    Error_Handler();
  }
  if (HAL_TIM_PWM_Init(&htim1) != HAL_OK)
  {
    Error_Handler();
  }
  sMasterConfig.MasterOutputTrigger = TIM_TRGO_RESET;
  sMasterConfig.MasterSlaveMode = TIM_MASTERSLAVEMODE_DISABLE;
  if (HAL_TIMEx_MasterConfigSynchronization(&htim1, &sMasterConfig) != HAL_OK)
  {
    Error_Handler();
  }
  sConfigOC.OCMode = TIM_OCMODE_PWM1;
  sConfigOC.Pulse = 0;
  sConfigOC.OCPolarity = TIM_OCPOLARITY_HIGH;
  sConfigOC.OCNPolarity = TIM_OCNPOLARITY_HIGH;
  sConfigOC.OCFastMode = TIM_OCFAST_DISABLE;
  sConfigOC.OCIdleState = TIM_OCIDLESTATE_RESET;
  sConfigOC.OCNIdleState = TIM_OCNIDLESTATE_RESET;
  if (HAL_TIM_PWM_ConfigChannel(&htim1, &sConfigOC, TIM_CHANNEL_1) != HAL_OK)
  {
    Error_Handler();
  }
  if (HAL_TIM_PWM_ConfigChannel(&htim1, &sConfigOC, TIM_CHANNEL_2) != HAL_OK)
  {
    Error_Handler();
  }
  if (HAL_TIM_PWM_ConfigChannel(&htim1, &sConfigOC, TIM_CHANNEL_3) != HAL_OK)
  {
    Error_Handler();
  }
  sBreakDeadTimeConfig.OffStateRunMode = TIM_OSSR_DISABLE;
  sBreakDeadTimeConfig.OffStateIDLEMode = TIM_OSSI_DISABLE;
  sBreakDeadTimeConfig.LockLevel = TIM_LOCKLEVEL_OFF;
  sBreakDeadTimeConfig.DeadTime = 0;
  sBreakDeadTimeConfig.BreakState = TIM_BREAK_DISABLE;
  sBreakDeadTimeConfig.BreakPolarity = TIM_BREAKPOLARITY_HIGH;
  sBreakDeadTimeConfig.AutomaticOutput = TIM_AUTOMATICOUTPUT_DISABLE;
  if (HAL_TIMEx_ConfigBreakDeadTime(&htim1, &sBreakDeadTimeConfig) != HAL_OK)
  {
    Error_Handler();
  }
  HAL_TIM_MspPostInit(&htim1);

}

static void MX_USART1_UART_Init(void)
{

  huart1.Instance = USART1;
  huart1.Init.BaudRate = 115200;
  huart1.Init.WordLength = UART_WORDLENGTH_8B;
  huart1.Init.StopBits = UART_STOPBITS_1;
  huart1.Init.Parity = UART_PARITY_NONE;
  huart1.Init.Mode = UART_MODE_TX_RX;
  huart1.Init.HwFlowCtl = UART_HWCONTROL_NONE;
  huart1.Init.OverSampling = UART_OVERSAMPLING_16;
  huart1.Init.OneBitSampling = UART_ONE_BIT_SAMPLE_DISABLE;
  huart1.AdvancedInit.AdvFeatureInit = UART_ADVFEATURE_NO_INIT;
  if (HAL_UART_Init(&huart1) != HAL_OK)
  {
    Error_Handler();
  }

}

static void MX_GPIO_Init(void)
{
  GPIO_InitTypeDef GPIO_InitStruct = {0};

  /* GPIO Ports Clock Enable */
  __HAL_RCC_GPIOF_CLK_ENABLE();
  __HAL_RCC_GPIOA_CLK_ENABLE();
  __HAL_RCC_GPIOB_CLK_ENABLE();

  /*Configure GPIO pin Output Level */
  HAL_GPIO_WritePin(GPIOB, LED0_Pin|LED1_Pin, GPIO_PIN_SET);
  HAL_GPIO_WritePin(GPIOA, PWM2_Pin|PWM3_Pin, GPIO_PIN_RESET);

  /*Configure GPIO pins : Key0_Pin Key1_Pin Key2_Pin */
  GPIO_InitStruct.Pin = Key0_Pin|Key1_Pin|Key2_Pin;
  GPIO_InitStruct.Mode = GPIO_MODE_IT_RISING_FALLING;
  GPIO_InitStruct.Pull = GPIO_NOPULL;
  HAL_GPIO_Init(GPIOA, &GPIO_InitStruct);

  /*Configure GPIO pin : Key3_Pin */
  GPIO_InitStruct.Pin = Key3_Pin;
  GPIO_InitStruct.Mode = GPIO_MODE_IT_RISING_FALLING;
  GPIO_InitStruct.Pull = GPIO_NOPULL;
  HAL_GPIO_Init(Key3_GPIO_Port, &GPIO_InitStruct);

  /*Configure GPIO pins : GAS_D1_Pin GAS_D2_Pin */
  GPIO_InitStruct.Pin = GAS_D1_Pin|GAS_D2_Pin;
  GPIO_InitStruct.Mode = GPIO_MODE_INPUT;
  GPIO_InitStruct.Pull = GPIO_PULLUP;
  HAL_GPIO_Init(GPIOB, &GPIO_InitStruct);

  /*Configure GPIO pins : CLOSE_Pin OPEN_Pin */
  GPIO_InitStruct.Pin = CLOSE_Pin|OPEN_Pin;
  GPIO_InitStruct.Mode = GPIO_MODE_INPUT;
  GPIO_InitStruct.Pull = GPIO_PULLUP;
  HAL_GPIO_Init(GPIOA, &GPIO_InitStruct);

  /*Configure GPIO pins : LED0_Pin LED1_Pin */
  GPIO_InitStruct.Pin = LED0_Pin|LED1_Pin;
  GPIO_InitStruct.Mode = GPIO_MODE_OUTPUT_PP;
  GPIO_InitStruct.Pull = GPIO_NOPULL;
  GPIO_InitStruct.Speed = GPIO_SPEED_FREQ_HIGH;
  HAL_GPIO_Init(GPIOB, &GPIO_InitStruct);

  /*Configure GPIO pins : PWM2_Pin PWM3_Pin */
  GPIO_InitStruct.Pin = PWM2_Pin|PWM3_Pin;
  GPIO_InitStruct.Mode = GPIO_MODE_OUTPUT_PP;
  GPIO_InitStruct.Pull = GPIO_NOPULL;
  GPIO_InitStruct.Speed = GPIO_SPEED_FREQ_HIGH;
  HAL_GPIO_Init(GPIOA, &GPIO_InitStruct);

  /**/
  HAL_I2CEx_EnableFastModePlus(SYSCFG_CFGR1_I2C_FMP_PB6);

  /**/
  HAL_I2CEx_EnableFastModePlus(SYSCFG_CFGR1_I2C_FMP_PB7);

}

void Error_Handler(void)
{
  __disable_irq();
  while (1)
  {
  }
}
